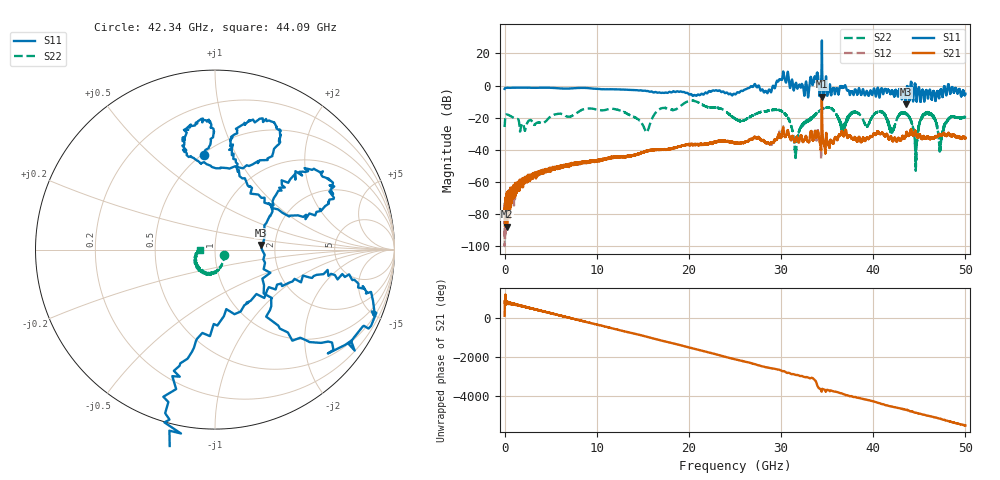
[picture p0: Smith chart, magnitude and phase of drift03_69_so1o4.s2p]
!Created with skrf (http://scikit-rf.org).
# Hz S RI R 50.0
!freq ReS11 ImS11 ReS21 ImS21 ReS12 ImS12 ReS22 ImS22
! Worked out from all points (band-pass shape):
!   10000 points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, 5.3 MHz to 50 GHz, reference 50 ohm
!   highest |S21| = -7.03 dB at 34.43 GHz (marker M1); lowest = -88.0 dB at 285.3 MHz (marker M2)
!   |S21| within 3 dB of the highest: 34.42714 GHz to 34.43488 GHz (7.739 MHz wide, 0.0225 % of centre)
!   lowest |S11| = -11.8 dB at 43.52 GHz (marker M3), VSWR 1.69, Z = 84.2 + j4.68 ohm
!   |S11| at or under -10 dB: 43.4867 GHz to 43.54297 GHz (56.27 MHz wide, 0.129 % of centre); 43.5487 GHz to 43.55123 GHz (2.53 MHz wide, 0.00581 % of centre); 44.70912 GHz to 44.71089 GHz (1.775 MHz wide, 0.00397 % of centre) (the widest 3 of 6)
!   |S22| runs from -53.2 to -9.4 dB; largest |S21 - S12| = 0.13
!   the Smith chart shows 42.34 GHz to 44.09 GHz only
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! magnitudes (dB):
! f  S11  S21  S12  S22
! 5.3 MHz  -2.1  -78.4  -73.2  -25.9
! 285.3 MHz  -1.4  -88.0  -71.1  -18.1
! 2.275 GHz  -1.3  -58.4  -57.9  -27.1
! 8.34 GHz  -1.5  -47.9  -48.0  -15.3
! 12.47 GHz  -2.5  -44.6  -44.3  -15.5
! 15.4 GHz  -3.5  -40.9  -40.9  -28.9
! 16.67 GHz  -4.4  -40.2  -40.0  -15.3
! 20.45 GHz  -6.5  -37.0  -36.7  -9.5
! 25.01 GHz  -5.5  -35.9  -35.7  -20.7
! 29.96 GHz  3.9  -32.5  -32.3  -15.8
! 31.59 GHz  1.4  -33.8  -34.0  -44.9
! 33.34 GHz  2.7  -30.1  -30.5  -19.9
! 34.43 GHz  28.1  -7.0  -8.7  -14.5
! 36.7 GHz  -1.4  -30.1  -30.2  -29.0
! 37.96 GHz  -3.6  -32.7  -32.6  -16.5
! 41.67 GHz  -2.8  -33.1  -33.2  -23.7
! 43.52 GHz  -11.8  -31.4  -31.7  -17.7
! 44.62 GHz  -2.5  -29.4  -29.2  -47.5
! 45.63 GHz  -5.6  -32.8  -32.8  -17.9
! 47.27 GHz  -3.2  -30.4  -30.9  -39.3
! 48.3 GHz  -3.7  -30.8  -30.7  -20.5
! 50 GHz  -5.1  -32.9  -32.6  -19.6
